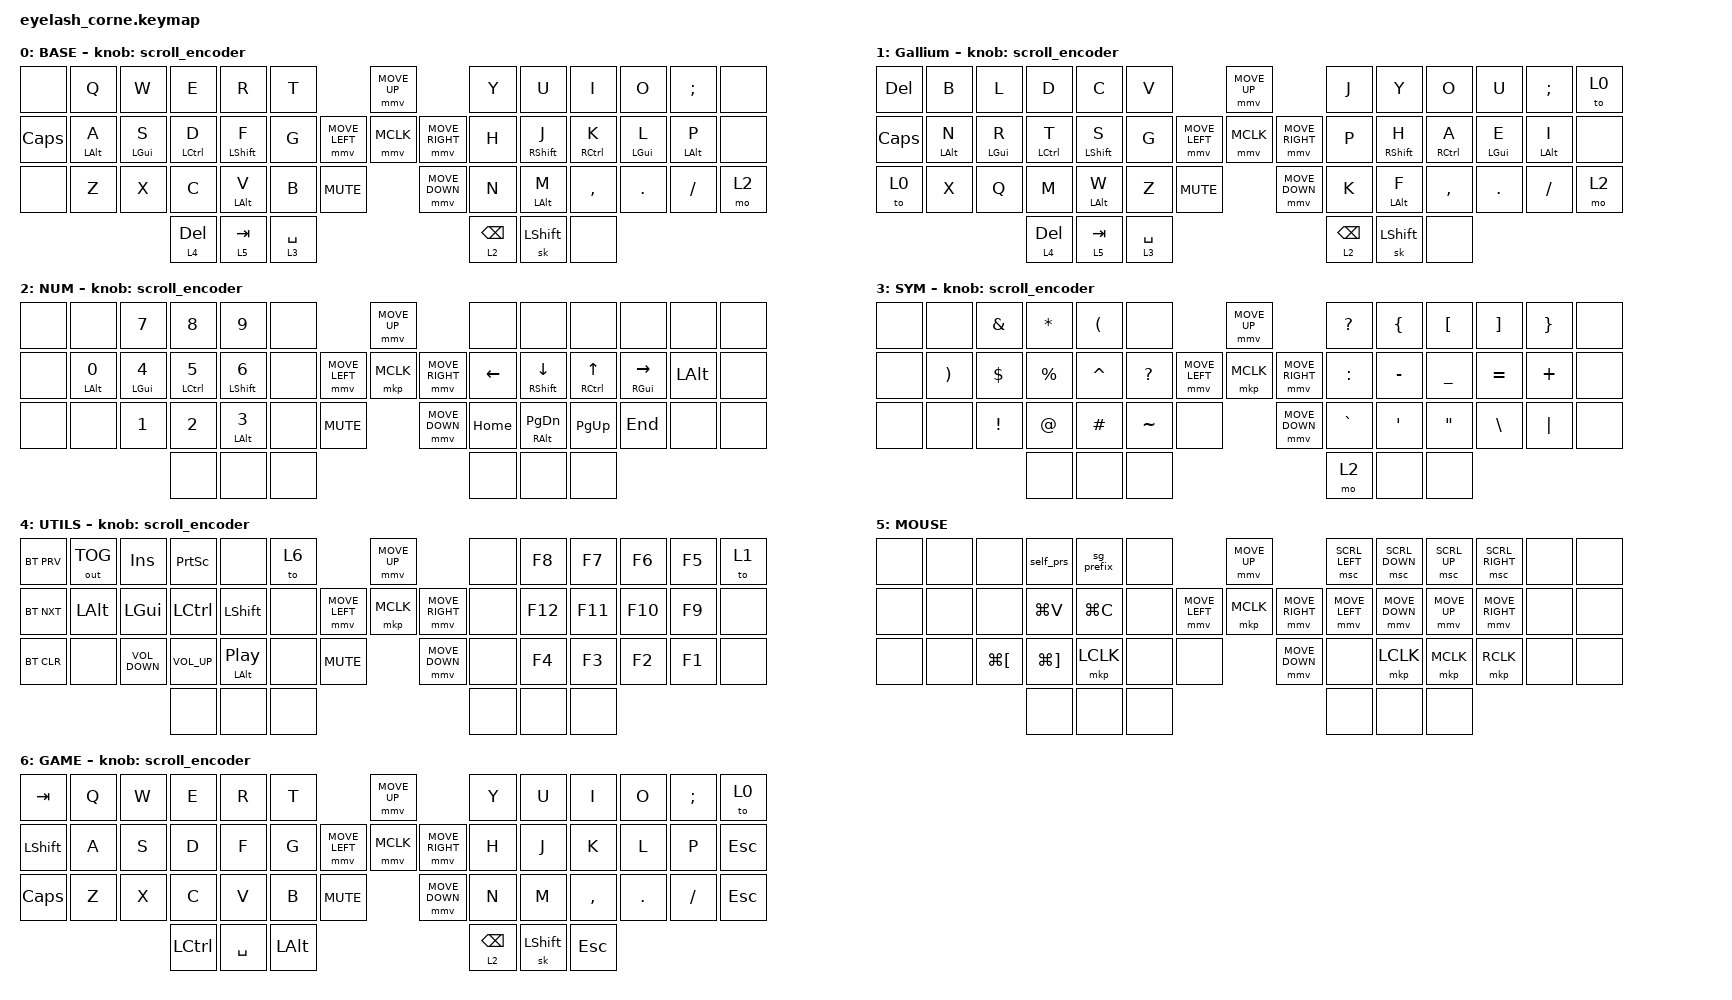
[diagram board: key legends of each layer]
#define ZMK_POINTING_DEFAULT_MOVE_VAL 1500  // default: 600
#define ZMK_POINTING_DEFAULT_SCRL_VAL 20    // default: 10

#include <input/processors.dtsi>
#include <zephyr/dt-bindings/input/input-event-codes.h>
#include <behaviors.dtsi>
#include <dt-bindings/zmk/bt.h>
#include <dt-bindings/zmk/keys.h>
#include <dt-bindings/zmk/outputs.h>
#include <dt-bindings/zmk/pointing.h>
#include <dt-bindings/zmk/rgb.h>

&mmv_input_listener { input-processors = <&zip_xy_scaler 2 1>; };

&msc_input_listener { input-processors = <&zip_scroll_scaler 2 1>; };

#define KEYS_R 7 8 9 10 11 12 22 23 24 25 26 27 36 37 38 39 40 41
#define KEYS_L 0 1 2 3 4 5 13 14 15 16 17 18 28 29 30 31 32 33 34
#define KEYS_THUMB 42 43 44 45 46 47

&sk {
    release-after-ms = <900>;
    quick-release;
};

&lt {
    compatible = "zmk,behavior-hold-tap";
    #binding-cells = <2>;
    flavor = "balanced";
    require-prior-idle-ms = <0>;
    tapping-term-ms = <280>;
    quick-tap-ms = <175>;
    bindings = <&mo>, <&kp>;

    hold-trigger-key-positions = <KEYS_R KEYS_L KEYS_THUMB>;
    hold-trigger-on-release;
};

&mt {
    quick-tap-ms = <200>;
    flavor = "tap-preferred";
    tapping-term-ms = <170>;
};

&msc {
    x-input-code = <INPUT_REL_HWHEEL>;
    y-input-code = <INPUT_REL_WHEEL>;
    time-to-max-speed-ms = <0>;
    delay-ms = <0>;
    acceleration-exponent = <0>;
};

&mmv {
    time-to-max-speed-ms = <500>;
    acceleration-exponent = <1>;
    trigger-period-ms = <16>;
};

&soft_off { hold-time-ms = <2000>; };

/ {
    behaviors {
        hml: home_row_mod_left {
            compatible = "zmk,behavior-hold-tap";
            #binding-cells = <2>;
            flavor = "balanced";
            require-prior-idle-ms = <100>;
            tapping-term-ms = <280>;
            quick-tap-ms = <175>;
            bindings = <&kp>, <&kp>;

            hold-trigger-key-positions = <KEYS_R KEYS_THUMB>;
            hold-trigger-on-release;
        };

        hmr: home_row_mod_right {
            compatible = "zmk,behavior-hold-tap";
            #binding-cells = <2>;
            flavor = "balanced";
            require-prior-idle-ms = <100>;
            tapping-term-ms = <280>;
            quick-tap-ms = <175>;
            bindings = <&kp>, <&kp>;

            hold-trigger-key-positions = <KEYS_L KEYS_THUMB>;
            hold-trigger-on-release;
        };
    };

    rgb_encoder: rgb_encoder {
        compatible = "zmk,behavior-sensor-rotate";
        #sensor-binding-cells = <0>;
        bindings = <&rgb_ug RGB_BRI>, <&rgb_ug RGB_BRD>;
    };

    scroll_encoder: scroll_encoder {
        compatible = "zmk,behavior-sensor-rotate";
        #sensor-binding-cells = <0>;
        bindings = <&msc SCRL_RIGHT>, <&msc SCRL_LEFT>;

        tap-ms = <50>;
    };

    combos {
        compatible = "zmk,combos";

        softoff_base {
            bindings = <&soft_off>;
            key-positions = <1 15 29>;
            layers = <0>;
        };

        esc_base {
            bindings = <&kp ESCAPE>;
            key-positions = <31 30>;
            layers = <0>;
            require-prior-idle-ms = <(-1)>;
        };

        enter_base {
            bindings = <&kp ENTER>;
            key-positions = <38 39>;
            layers = <0>;
            require-prior-idle-ms = <(-1)>;
        };

        softoff_gallium {
            bindings = <&soft_off>;
            key-positions = <1 15 29>;
            layers = <1>;
        };

        esc_gallium {
            bindings = <&kp ESCAPE>;
            key-positions = <31 30>;
            layers = <1>;
        };

        enter_gallium {
            bindings = <&kp ENTER>;
            key-positions = <38 39>;
            layers = <1>;
        };

        pipe_symbol {
            bindings = <&kp PIPE>;
            key-positions = <37 39>;
            layers = <3>;
        };

        question_mark_symbol {
            bindings = <&kp QUESTION>;
            key-positions = <24 25>;
            layers = <3>;
        };

        colon_symbol {
            bindings = <&kp COLON>;
            key-positions = <9 10>;
            layers = <3>;
        };

        symbol-tilde {
            bindings = <&kp TILDE>;
            key-positions = <3 2>;
            layers = <3>;
        };

        symbol-grave {
            bindings = <&kp GRAVE>;
            key-positions = <16 15>;
            layers = <3>;
        };

        slash-symbol {
            bindings = <&kp SLASH>;
            key-positions = <38 39>;
            layers = <3>;
        };
    };

    macros {
        sg_prefix: sg_prefix {
            compatible = "zmk,behavior-macro";
            #binding-cells = <0>;
            bindings = <&kp LG(LA(T)) &kp G &kp O &kp FSLH &kp S &kp G &kp FSLH>;
            label = "SG_PREFIX";
        };

        self_prs: self_prs {
            compatible = "zmk,behavior-macro";
            #binding-cells = <0>;
            bindings = <&kp LG(LA(T)) &kp G &kp O &kp FSLH &kp P &kp R &kp S &kp FSLH &kp S &kp Z &kp H &kp U &kp ENTER>;
            label = "SELF_PRS";
        };
    };

    keymap {
        compatible = "zmk,keymap";

        default_layer {
            display-name = "BASE";
            bindings = <
&none     &kp Q            &kp W        &kp E         &kp R            &kp T                                      &mmv MOVE_UP                     &kp Y            &kp U            &kp I         &kp O            &kp SEMICOLON  &none
&kp CAPS  &hml LEFT_ALT A  &hml LGUI S  &hml LCTRL D  &hml LSHFT F     &kp G                      &mmv MOVE_LEFT  &mmv MCLK       &mmv MOVE_RIGHT  &kp H            &hmr RSHFT J     &hmr RCTRL K  &hmr LEFT_GUI L  &hmr LALT P    &none
&none     &kp Z            &kp X        &kp C         &hml LEFT_ALT V  &kp B        &kp C_MUTE                    &mmv MOVE_DOWN                   &kp N            &hmr LEFT_ALT M  &kp COMMA     &kp DOT          &kp FSLH       &mo 2
                                        &lt 4 DELETE  &lt 5 TAB        &lt 3 SPACE                                                                 &lt 2 BACKSPACE  &sk LSHIFT       &none
            >;

            sensor-bindings = <&scroll_encoder>;
        };

        gallium_layer {
            display-name = "Gallium";
            bindings = <
&kp DEL   &kp B            &kp L        &kp D         &kp C            &kp V                                      &mmv MOVE_UP                     &kp J    &kp Y            &kp O         &kp U            &kp SEMICOLON        &to 0
&kp CAPS  &hml LEFT_ALT N  &hml LGUI R  &hml LCTRL T  &hml LSHFT S     &kp G                      &mmv MOVE_LEFT  &mmv MCLK       &mmv MOVE_RIGHT  &kp P            &hmr RSHFT H     &hmr RCTRL A  &hmr LEFT_GUI E  &hmr LALT I  &none
&to 0     &kp X            &kp Q        &kp M         &hml LEFT_ALT W  &kp Z        &kp C_MUTE                    &mmv MOVE_DOWN                   &kp K            &hmr LEFT_ALT F  &kp COMMA     &kp DOT          &kp FSLH     &mo 2
                                        &lt 4 DELETE  &lt 5 TAB        &lt 3 SPACE                                                                 &lt 2 BACKSPACE  &sk LSHIFT       &none
            >;

            sensor-bindings = <&scroll_encoder>;
        };

        number_layer {
            display-name = "NUM";
            bindings = <
&none  &none             &kp N7              &kp N8         &kp N9                 &none                                &mmv MOVE_UP                     &none     &none                     &none                &none            &none         &none
&none  &hml LEFT_ALT N0  &hml LGUI NUMBER_4  &hml LCTRL N5  &hml LSHIFT NUMBER_6   &none                &mmv MOVE_LEFT  &mkp MCLK       &mmv MOVE_RIGHT  &kp LEFT  &hmr RSHIFT DOWN          &hmr RCTRL UP_ARROW  &hmr RGUI RIGHT  &kp LEFT_ALT  &none
&none  &none             &kp NUMBER_1        &kp NUMBER_2   &mt LEFT_ALT NUMBER_3  &none  &kp C_MUTE                    &mmv MOVE_DOWN                   &kp HOME  &hmr RIGHT_ALT PAGE_DOWN  &kp PAGE_UP          &kp END          &none         &none
                                             &none          &none                  &none                                                                 &none     &none                     &none
            >;

            sensor-bindings = <&scroll_encoder>;
        };

        symbol_layer {
            display-name = "SYM";
            bindings = <
&none  &none                  &kp AMPERSAND    &kp ASTERISK  &kp LEFT_PARENTHESIS  &none                                  &mmv MOVE_UP                     &kp QUESTION  &kp LEFT_BRACE  &kp LBKT           &kp RBKT   &kp RIGHT_BRACE  &none
&none  &kp RIGHT_PARENTHESIS  &kp DOLLAR       &kp PERCENT   &kp CARET             &kp QUESTION           &mmv MOVE_LEFT  &mkp MCLK       &mmv MOVE_RIGHT  &kp COLON     &kp MINUS       &kp UNDERSCORE     &kp EQUAL  &kp PLUS         &none
&none  &none                  &kp EXCLAMATION  &kp AT_SIGN   &kp HASH              &kp TILDE     &none                    &mmv MOVE_DOWN                   &kp GRAVE     &kp SQT         &kp DOUBLE_QUOTES  &kp BSLH   &kp PIPE         &none
                                               &none         &none                 &none                                                                   &mo 2         &none           &none
            >;

            sensor-bindings = <&scroll_encoder>;
        };

        utils_layer {
            display-name = "UTILS";
            bindings = <
&bt BT_PRV  &out OUT_TOG  &kp INSERT         &kp PRINTSCREEN   &none                  &to 6                                &mmv MOVE_UP                     &none  &kp F8   &kp F7   &kp F6   &kp F5  &to 1
&bt BT_NXT  &kp LEFT_ALT  &kp LGUI           &kp LEFT_CONTROL  &kp LSHIFT             &none                &mmv MOVE_LEFT  &mkp MCLK       &mmv MOVE_RIGHT  &none  &kp F12  &kp F11  &kp F10  &kp F9  &none
&bt BT_CLR  &none         &kp C_VOLUME_DOWN  &kp C_VOLUME_UP   &mt LALT C_PLAY_PAUSE  &none  &kp C_MUTE                    &mmv MOVE_DOWN                   &none  &kp F4   &kp F3   &kp F2   &kp F1  &none
                                             &none             &none                  &none                                                                 &none  &none    &none
            >;

            sensor-bindings = <&scroll_encoder>;
        };

        mouse_layer {
            display-name = "MOUSE";
            bindings = <
&none  &none  &none                 &self_prs              &sg_prefix  &none                           &mmv MOVE_UP                     &msc SCRL_LEFT  &msc SCRL_DOWN  &msc SCRL_UP  &msc SCRL_RIGHT  &none  &none
&none  &none  &none                 &kp LG(V)              &kp LG(C)   &none           &mmv MOVE_LEFT  &mkp MCLK       &mmv MOVE_RIGHT  &mmv MOVE_LEFT  &mmv MOVE_DOWN  &mmv MOVE_UP  &mmv MOVE_RIGHT  &none  &none
&none  &none  &kp LG(LEFT_BRACKET)  &kp LG(RIGHT_BRACKET)  &mkp LCLK   &none  &none                    &mmv MOVE_DOWN                   &none           &mkp LCLK       &mkp MCLK     &mkp RCLK        &none  &none
                                    &none                  &none       &none                                                            &none           &none           &none
            >;
        };

        game_layer {
            display-name = "GAME";
            bindings = <
&kp TAB     &kp Q  &kp W  &kp E             &kp R      &kp T                                       &mmv MOVE_UP                     &kp Y            &kp U       &kp I       &kp O    &kp SEMICOLON  &to 0
&kp LSHIFT  &kp A  &kp S  &kp D             &kp F      &kp G                       &mmv MOVE_LEFT  &mmv MCLK       &mmv MOVE_RIGHT  &kp H            &kp J       &kp K       &kp L    &kp P          &kp ESCAPE
&kp CAPS    &kp Z  &kp X  &kp C             &kp V      &kp B         &kp C_MUTE                    &mmv MOVE_DOWN                   &kp N            &kp M       &kp COMMA   &kp DOT  &kp FSLH       &kp ESCAPE
                          &kp LEFT_CONTROL  &kp SPACE  &kp LEFT_ALT                                                                 &lt 2 BACKSPACE  &sk LSHIFT  &kp ESCAPE
            >;

            sensor-bindings = <&scroll_encoder>;
        };
    };
};
